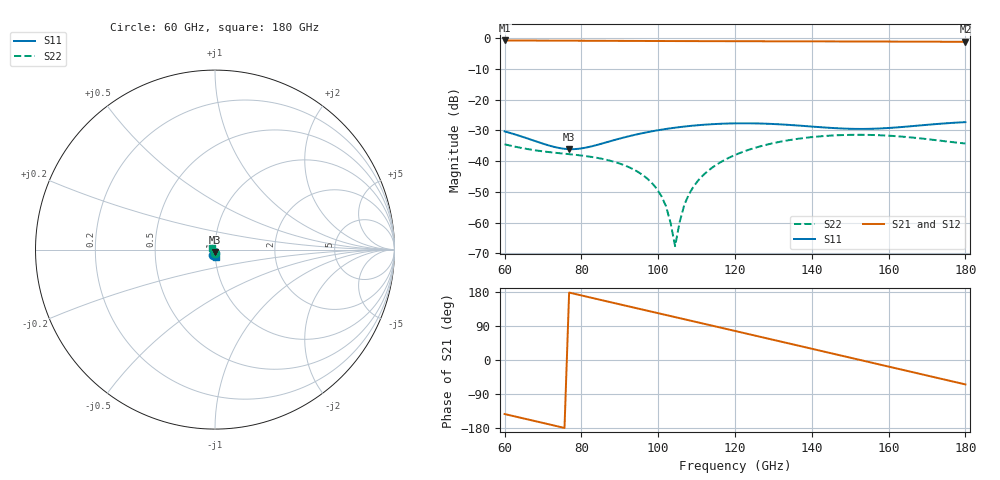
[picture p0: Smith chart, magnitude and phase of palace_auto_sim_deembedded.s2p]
! Created with skrf 1.11.0 (http://scikit-rf.org).
# GHz S DB R 50.0
!freq dBS11 angS11 dBS21 angS21 dBS12 angS12 dBS22 angS22
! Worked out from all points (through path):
!   101 points, 60 GHz to 180 GHz, reference 50 ohm
!   highest |S21| = -0.74 dB at 60 GHz (marker M1); lowest = -1.2 dB at 180 GHz (marker M2)
!   group delay of S21, straight-line fit = 6.52 ps
!   lowest |S11| = -36.1 dB at 76.8 GHz (marker M3), VSWR 1.03, Z = 50 - j1.57 ohm
!   |S11| at or under -10 dB: start of sweep to end of sweep
!   |S22| runs from -67.7 to -31.4 dB; largest |S21 - S12| = 1.6e-12
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60  -30.32 -109.0  -0.74 -142.6  -0.74 -142.6  -34.53 -90.2
68.4  -33.65 -109.0  -0.77 -162.3  -0.77 -162.3  -36.55 -88.9
76.8  -36.11 -88.0  -0.81 177.9  -0.81 177.9  -37.73 -89.5
80.4  -35.78 -75.9  -0.83 169.4  -0.83 169.4  -38.24 -91.9
87.6  -33.49 -62.6  -0.86 152.5  -0.86 152.5  -39.90 -100.3
93.6  -31.53 -61.3  -0.89 138.5  -0.89 138.5  -42.71 -110.0
97.2  -30.57 -62.8  -0.91 130.0  -0.91 130.0  -45.73 -116.0
100.8  -29.77 -65.2  -0.92 121.6  -0.92 121.6  -51.29 -119.7
102  -29.54 -66.1  -0.92 118.8  -0.92 118.8  -54.59 -118.4
103.2  -29.32 -67.1  -0.93 116.0  -0.93 116.0  -59.94 -109.7
104.4  -29.11 -68.1  -0.93 113.2  -0.93 113.2  -67.67 -46.3
105.6  -28.93 -69.2  -0.94 110.4  -0.94 110.4  -59.75 16.8
106.8  -28.75 -70.3  -0.94 107.6  -0.94 107.6  -54.24 25.3
109.2  -28.44 -72.7  -0.95 101.9  -0.95 101.9  -48.27 25.7
114  -27.99 -77.5  -0.97 90.7  -0.97 90.7  -42.17 17.0
120  -27.71 -83.6  -0.98 76.6  -0.98 76.6  -38.00 3.1
129.6  -27.90 -91.9  -1.01 54.1  -1.01 54.1  -34.25 -21.2
140.4  -28.79 -95.9  -1.04 28.7  -1.04 28.7  -32.14 -50.9
151.2  -29.51 -91.9  -1.07 3.3  -1.07 3.3  -31.44 -83.5
160.8  -29.15 -85.8  -1.10 -19.3  -1.10 -19.3  -31.78 -116.1
170.4  -28.14 -83.7  -1.14 -41.8  -1.14 -41.8  -32.89 -154.4
180  -27.31 -86.1  -1.18 -64.4  -1.18 -64.4  -34.25 158.0
